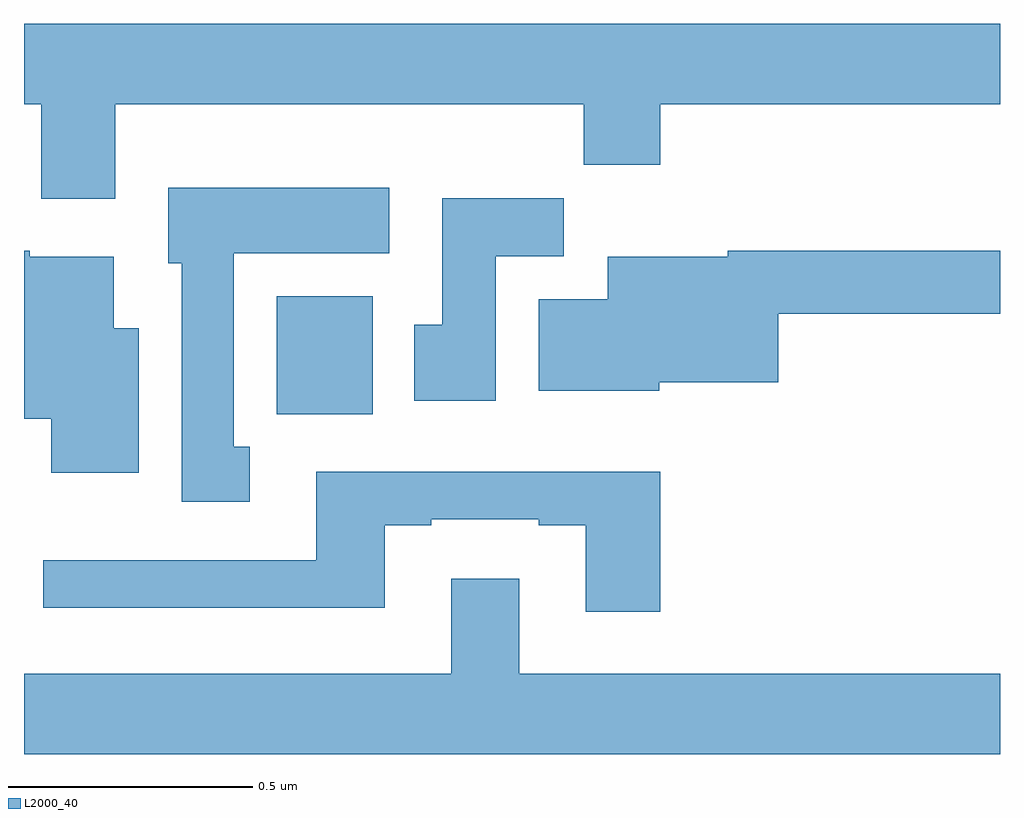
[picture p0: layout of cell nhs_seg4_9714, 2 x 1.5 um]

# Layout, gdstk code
import gdstk
lib = gdstk.Library(unit=1e-6, precision=1e-09)
def R(c, l, rs):  # rectangles x0, y0, x1, y1
    for r in rs: c.add(gdstk.rectangle(r[:2], r[2:], *l))
def P(c, l, *ps):  # polygons
    for p in ps: c.add(gdstk.Polygon(p, *l))
L2000_40 = (2000, 40)

nhs_seg4_9714 = lib.new_cell('nhs_seg4_9714')
R(nhs_seg4_9714, L2000_40, [(231.518,754.892,231.715,755.134)])
P(nhs_seg4_9714, L2000_40, [(231.187,755.528),(232.147,755.528),(232.147,755.404),(232.304,755.404),(232.304,755.528),(233,755.528),(233,755.692),(231,755.692),(231,755.528),(231.035,755.528),(231.035,755.334),(231.187,755.334)],
  [(231.463,754.826),(231.43,754.826),(231.43,755.222),(231.748,755.222),(231.748,755.356),(231.296,755.356),(231.296,755.202),(231.323,755.202),(231.323,754.713),(231.463,754.713)],
  [(231.967,755.216),(232.106,755.216),(232.106,755.335),(231.857,755.335),(231.857,755.076),(231.8,755.076),(231.8,754.92),(231.967,754.92)],
  [(232.302,754.958),(232.546,754.958),(232.546,755.098),(233,755.098),(233,755.227),(232.442,755.227),(232.442,755.215),(232.196,755.215),(232.196,755.128),(232.055,755.128),(232.055,754.94),(232.302,754.94)],
  [(231.235,755.068),(231.184,755.068),(231.184,755.215),(231.012,755.215),(231.012,755.227),(231,755.227),(231,754.883),(231.056,754.883),(231.056,754.772),(231.235,754.772)],
  [(232.304,754.774),(231.599,754.774),(231.599,754.593),(231.039,754.593),(231.039,754.496),(231.739,754.496),(231.739,754.665),(231.835,754.665),(231.835,754.677),(232.055,754.677),(232.055,754.665),(232.151,754.665),(232.151,754.488),(232.304,754.488)],
  [(233,754.36),(232.015,754.36),(232.015,754.555),(231.875,754.555),(231.875,754.36),(231,754.36),(231,754.196),(233,754.196)])

lib.write_gds('nhs_seg4_9714.gds')
